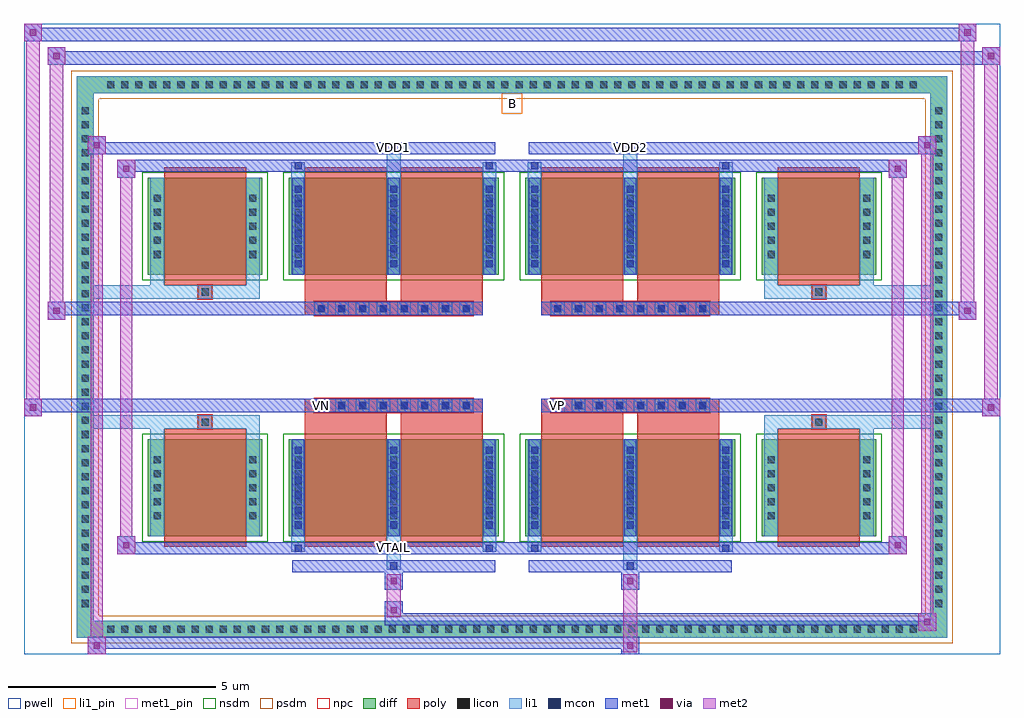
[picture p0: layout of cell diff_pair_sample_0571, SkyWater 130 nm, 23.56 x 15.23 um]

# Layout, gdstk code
import gdstk
lib = gdstk.Library(unit=1e-6, precision=5e-09)
def R(c, l, rs):  # rectangles x0, y0, x1, y1
    for r in rs: c.add(gdstk.rectangle(r[:2], r[2:], *l))
def A(c, l, x, y, w, h, nx, ny, dx, dy):  # array of equal rectangles
    R(c, l, [(x+i*dx, y+j*dy, x+i*dx+w, y+j*dy+h) for i in range(nx) for j in range(ny)])
def P(c, l, *ps):  # polygons
    for p in ps: c.add(gdstk.Polygon(p, *l))
pwell = (64, 44)
diff = (65, 20)
poly = (66, 20)
licon = (66, 44)
li1_pin = (67, 16)
li1 = (67, 20)
mcon = (67, 44)
met1_pin = (68, 16)
met1 = (68, 20)
via = (68, 44)
met2 = (69, 20)
nsdm = (93, 44)
psdm = (94, 20)
npc = (95, 20)

diff_pair_sample_0571 = lib.new_cell('diff_pair_sample_0571')
R(diff_pair_sample_0571, pwell, [(-11.78,-7.18,11.78,8.05), (-9.1,-5.37,-0.01,-0.805), (0.01,-5.37,9.1,-0.805), (-9.1,0.805,-0.01,5.37), (0.01,0.805,9.1,5.37)])
A(diff_pair_sample_0571, diff, -9.895, -6.78, 0.41, 0.41, 58, 2, 0.34, 13.15)
A(diff_pair_sample_0571, diff, -10.51, -6.155, 0.41, 0.41, 1, 36, 0, 0.34)
A(diff_pair_sample_0571, diff, 10.1, -6.155, 0.41, 0.41, 1, 36, 0, 0.34)
R(diff_pair_sample_0571, diff, [(-9.895,-6.78,9.895,-6.37), (-10.51,-6.155,-10.1,6.155), (10.1,-6.155,10.51,6.155), (-8.79,-4.325,-6.03,-1.985), (-5.39,-4.325,-0.32,-1.985), (0.32,-4.325,5.39,-1.985), (6.03,-4.325,8.79,-1.985), (-8.79,1.985,-6.03,4.325), (-5.39,1.985,-0.32,4.325), (0.32,1.985,5.39,4.325), (6.03,1.985,8.79,4.325), (-9.895,6.37,9.895,6.78)])
P(diff_pair_sample_0571, diff, [(10.51,6.78),(-10.51,6.78),(-10.51,-6.37),(-10.1,-6.37),(-10.1,6.37),(10.1,6.37),(10.1,-6.37),(-10.1,-6.37),(-10.51,-6.37),(-10.51,-6.78),(10.51,-6.78)])
A(diff_pair_sample_0571, poly, -4.77, -1.335, 0.33, 0.33, 8, 2, 0.5, 2.34)
A(diff_pair_sample_0571, poly, 0.94, -1.335, 0.33, 0.33, 8, 2, 0.5, 2.34)
R(diff_pair_sample_0571, poly, [(-8.4,-4.575,-6.42,-1.735), (-5,-4.575,-3.02,-1.735), (-2.69,-4.575,-0.71,-1.735), (0.71,-4.575,2.69,-1.735), (3.02,-4.575,5,-1.735), (6.42,-4.575,8.4,-1.735), (-7.575,-1.735,-7.245,-1.405), (-7.575,-1.735,-7.245,-1.405), (-5,-1.735,-3.02,-1.335), (-2.69,-1.735,-0.71,-1.335), (0.71,-1.735,2.69,-1.335), (3.02,-1.735,5,-1.335), (7.245,-1.735,7.575,-1.405), (7.245,-1.735,7.575,-1.405), (-5,-1.335,-0.71,-1.005), (0.71,-1.335,5,-1.005), (-5,1.005,-0.71,1.335), (0.71,1.005,5,1.335), (-5,1.335,-3.02,1.735), (-2.69,1.335,-0.71,1.735), (0.71,1.335,2.69,1.735), (3.02,1.335,5,1.735), (-7.575,1.405,-7.245,1.735), (-7.575,1.405,-7.245,1.735), (7.245,1.405,7.575,1.735), (7.245,1.405,7.575,1.735), (-8.4,1.735,-6.42,4.575), (-5,1.735,-3.02,4.575), (-2.69,1.735,-0.71,4.575), (0.71,1.735,2.69,4.575), (3.02,1.735,5,4.575), (6.42,1.735,8.4,4.575)])
A(diff_pair_sample_0571, licon, -9.775, -6.66, 0.17, 0.17, 58, 2, 0.34, 13.15)
A(diff_pair_sample_0571, licon, -10.39, -6.035, 0.17, 0.17, 1, 36, 0, 0.34)
A(diff_pair_sample_0571, licon, 10.22, -6.035, 0.17, 0.17, 1, 36, 0, 0.34)
A(diff_pair_sample_0571, licon, -8.65, -3.92, 0.17, 0.17, 1, 5, 0, 0.34)
A(diff_pair_sample_0571, licon, -6.34, -3.92, 0.17, 0.17, 1, 5, 0, 0.34)
A(diff_pair_sample_0571, licon, -5.25, -3.92, 0.17, 0.17, 3, 5, 2.31, 0.34)
A(diff_pair_sample_0571, licon, 0.46, -3.92, 0.17, 0.17, 3, 5, 2.31, 0.34)
A(diff_pair_sample_0571, licon, 6.17, -3.92, 0.17, 0.17, 1, 5, 0, 0.34)
A(diff_pair_sample_0571, licon, 8.48, -3.92, 0.17, 0.17, 1, 5, 0, 0.34)
A(diff_pair_sample_0571, licon, -4.69, -1.255, 0.17, 0.17, 8, 2, 0.5, 2.34)
A(diff_pair_sample_0571, licon, 1.02, -1.255, 0.17, 0.17, 8, 2, 0.5, 2.34)
A(diff_pair_sample_0571, licon, -8.65, 2.39, 0.17, 0.17, 1, 5, 0, 0.34)
A(diff_pair_sample_0571, licon, -6.34, 2.39, 0.17, 0.17, 1, 5, 0, 0.34)
A(diff_pair_sample_0571, licon, -5.25, 2.39, 0.17, 0.17, 3, 5, 2.31, 0.34)
A(diff_pair_sample_0571, licon, 0.46, 2.39, 0.17, 0.17, 3, 5, 2.31, 0.34)
A(diff_pair_sample_0571, licon, 6.17, 2.39, 0.17, 0.17, 1, 5, 0, 0.34)
A(diff_pair_sample_0571, licon, 8.48, 2.39, 0.17, 0.17, 1, 5, 0, 0.34)
R(diff_pair_sample_0571, licon, [(-7.495,-1.655,-7.325,-1.485), (7.325,-1.655,7.495,-1.485), (-7.495,1.485,-7.325,1.655), (7.325,1.485,7.495,1.655)])
R(diff_pair_sample_0571, li1_pin, [(-0.25,5.87,0.25,6.37)])
A(diff_pair_sample_0571, li1, -9.855, -6.74, 0.33, 0.33, 58, 2, 0.34, 13.15)
A(diff_pair_sample_0571, li1, -10.47, -6.115, 0.33, 0.33, 1, 36, 0, 0.34)
A(diff_pair_sample_0571, li1, 10.14, -6.115, 0.33, 0.33, 1, 36, 0, 0.34)
A(diff_pair_sample_0571, li1, -5.33, -4.325, 0.33, 2.34, 3, 2, 2.31, 6.31)
A(diff_pair_sample_0571, li1, 0.38, -4.325, 0.33, 2.34, 3, 2, 2.31, 6.31)
A(diff_pair_sample_0571, li1, -5.25, -4.14, 0.17, 0.17, 3, 6, 2.31, 0.36)
A(diff_pair_sample_0571, li1, -5.25, -4.14, 0.17, 1.97, 3, 2, 2.31, 6.31)
A(diff_pair_sample_0571, li1, 0.46, -4.14, 0.17, 0.17, 3, 6, 2.31, 0.36)
A(diff_pair_sample_0571, li1, 0.46, -4.14, 0.17, 1.97, 3, 2, 2.31, 6.31)
A(diff_pair_sample_0571, li1, -8.73, -4, 0.33, 0.33, 1, 5, 0, 0.34)
A(diff_pair_sample_0571, li1, -6.42, -4, 0.33, 0.33, 1, 5, 0, 0.34)
A(diff_pair_sample_0571, li1, -5.33, -4, 0.33, 0.33, 3, 5, 2.31, 0.34)
A(diff_pair_sample_0571, li1, 0.38, -4, 0.33, 0.33, 3, 5, 2.31, 0.34)
A(diff_pair_sample_0571, li1, 6.09, -4, 0.33, 0.33, 1, 5, 0, 0.34)
A(diff_pair_sample_0571, li1, 8.4, -4, 0.33, 0.33, 1, 5, 0, 0.34)
A(diff_pair_sample_0571, li1, -4.77, -1.335, 0.33, 0.33, 8, 2, 0.5, 2.34)
A(diff_pair_sample_0571, li1, 0.94, -1.335, 0.33, 0.33, 8, 2, 0.5, 2.34)
A(diff_pair_sample_0571, li1, -5.25, 2.17, 0.17, 0.17, 3, 6, 2.31, 0.36)
A(diff_pair_sample_0571, li1, 0.46, 2.17, 0.17, 0.17, 3, 6, 2.31, 0.36)
A(diff_pair_sample_0571, li1, -8.73, 2.31, 0.33, 0.33, 1, 5, 0, 0.34)
A(diff_pair_sample_0571, li1, -6.42, 2.31, 0.33, 0.33, 1, 5, 0, 0.34)
A(diff_pair_sample_0571, li1, -5.33, 2.31, 0.33, 0.33, 3, 5, 2.31, 0.34)
A(diff_pair_sample_0571, li1, 0.38, 2.31, 0.33, 0.33, 3, 5, 2.31, 0.34)
A(diff_pair_sample_0571, li1, 6.09, 2.31, 0.33, 0.33, 1, 5, 0, 0.34)
A(diff_pair_sample_0571, li1, 8.4, 2.31, 0.33, 0.33, 1, 5, 0, 0.34)
R(diff_pair_sample_0571, li1, [(-10.51,-6.78,-10.1,-6.37), (-10.51,-6.78,-10.1,-6.37), (-10.1,-6.78,10.1,-6.37), (10.1,-6.78,10.51,-6.37), (10.1,-6.78,10.51,-6.37), (-10.51,-6.37,-10.1,6.37), (10.1,-6.37,10.51,6.37), (-3.02,-5.13,-2.69,-4.325), (-2.94,-5.13,-2.77,-4.96), (2.69,-5.13,3.02,-4.325), (2.77,-5.13,2.94,-4.96), (-5.33,-4.7,-5,-4.325), (-5.25,-4.7,-5.08,-4.53), (-0.71,-4.7,-0.38,-4.325), (-0.63,-4.7,-0.46,-4.53), (0.38,-4.7,0.71,-4.325), (0.46,-4.7,0.63,-4.53), (5,-4.7,5.33,-4.325), (5.08,-4.7,5.25,-4.53), (-8.73,-4.325,-8.4,-1.985), (-6.42,-4.325,-6.09,-1.985), (6.09,-4.325,6.42,-1.985), (8.4,-4.325,8.73,-1.985), (-8.73,-1.985,-8.4,-1.405), (-6.42,-1.985,-6.09,-1.405), (6.09,-1.985,6.42,-1.405), (8.4,-1.985,8.73,-1.405), (-10.51,-1.735,-7.575,-1.405), (-8.73,-1.735,-7.575,-1.405), (-7.575,-1.735,-7.245,-1.405), (-7.245,-1.735,-6.09,-1.405), (6.09,-1.735,7.245,-1.405), (7.245,-1.735,7.575,-1.405), (7.245,-1.735,10.51,-1.405), (7.575,-1.735,8.73,-1.405), (-10.51,1.405,-7.575,1.735), (-8.73,1.405,-7.575,1.735), (-8.73,1.405,-8.4,1.985), (-7.575,1.405,-7.245,1.735), (-7.245,1.405,-6.09,1.735), (-6.42,1.405,-6.09,1.985), (6.09,1.405,7.245,1.735), (6.09,1.405,6.42,1.985), (7.245,1.405,7.575,1.735), (7.245,1.405,10.51,1.735), (7.575,1.405,8.73,1.735), (8.4,1.405,8.73,1.985), (-8.73,1.985,-8.4,4.325), (-6.42,1.985,-6.09,4.325), (6.09,1.985,6.42,4.325), (8.4,1.985,8.73,4.325), (-5.33,4.325,-5,4.7), (-3.02,4.325,-2.69,5.13), (-0.71,4.325,-0.38,4.7), (0.38,4.325,0.71,4.7), (2.69,4.325,3.02,5.13), (5,4.325,5.33,4.7), (-5.25,4.53,-5.08,4.7), (-0.63,4.53,-0.46,4.7), (0.46,4.53,0.63,4.7), (5.08,4.53,5.25,4.7), (-2.94,4.96,-2.77,5.13), (2.77,4.96,2.94,5.13), (-10.51,6.37,-10.1,6.78), (-10.51,6.37,-10.1,6.78), (-10.1,6.37,10.1,6.78), (10.1,6.37,10.51,6.78), (10.1,6.37,10.51,6.78)])
A(diff_pair_sample_0571, mcon, -5.25, -4.14, 0.17, 0.17, 3, 6, 2.31, 0.36)
A(diff_pair_sample_0571, mcon, 0.46, -4.14, 0.17, 0.17, 3, 6, 2.31, 0.36)
A(diff_pair_sample_0571, mcon, -4.69, -1.255, 0.17, 0.17, 8, 2, 0.5, 2.34)
A(diff_pair_sample_0571, mcon, 1.02, -1.255, 0.17, 0.17, 8, 2, 0.5, 2.34)
A(diff_pair_sample_0571, mcon, -5.25, 2.17, 0.17, 0.17, 3, 6, 2.31, 0.36)
A(diff_pair_sample_0571, mcon, 0.46, 2.17, 0.17, 0.17, 3, 6, 2.31, 0.36)
R(diff_pair_sample_0571, mcon, [(-2.94,-5.13,-2.77,-4.96), (2.77,-5.13,2.94,-4.96), (-5.25,-4.7,-5.08,-4.53), (-0.63,-4.7,-0.46,-4.53), (0.46,-4.7,0.63,-4.53), (5.08,-4.7,5.25,-4.53), (-5.25,4.53,-5.08,4.7), (-0.63,4.53,-0.46,4.7), (0.46,4.53,0.63,4.7), (5.08,4.53,5.25,4.7), (-2.94,4.96,-2.77,5.13), (2.77,4.96,2.94,5.13)])
R(diff_pair_sample_0571, met1_pin, [(-2.99,-4.74,-2.72,-4.47), (-4.74,-1.295,-4.47,-1.025), (0.97,-1.295,1.24,-1.025), (-2.99,4.92,-2.72,5.19), (2.72,4.92,2.99,5.19)])
A(diff_pair_sample_0571, met1, -5.31, -4.325, 0.29, 2.34, 3, 2, 2.31, 6.31)
A(diff_pair_sample_0571, met1, 0.4, -4.325, 0.29, 2.34, 3, 2, 2.31, 6.31)
A(diff_pair_sample_0571, met1, -5.31, -4.2, 0.29, 0.29, 3, 6, 2.31, 0.36)
A(diff_pair_sample_0571, met1, 0.4, -4.2, 0.29, 0.29, 3, 6, 2.31, 0.36)
A(diff_pair_sample_0571, met1, -4.75, -1.315, 0.29, 0.29, 8, 2, 0.5, 2.34)
A(diff_pair_sample_0571, met1, 0.96, -1.315, 0.29, 0.29, 8, 2, 0.5, 2.34)
A(diff_pair_sample_0571, met1, -5.31, 2.11, 0.29, 0.29, 3, 6, 2.31, 0.36)
A(diff_pair_sample_0571, met1, 0.4, 2.11, 0.29, 0.29, 3, 6, 2.31, 0.36)
R(diff_pair_sample_0571, met1, [(-10.24,-7.18,-9.81,-6.75), (2.64,-7.18,3.07,-6.75), (-10.24,-7.04,3.07,-6.75), (9.81,-6.61,10.24,-6.18), (-3.07,-6.47,10.24,-6.18), (-3.07,-6.33,-2.64,-5.9), (-3.07,-5.62,-2.64,-5.19), (2.64,-5.62,3.07,-5.19), (-5.31,-5.19,-0.4,-4.9), (-3,-5.19,-2.71,-4.9), (0.4,-5.19,5.31,-4.9), (2.71,-5.19,3,-4.9), (-9.53,-4.76,-9.1,-4.33), (-9.53,-4.76,-5.31,-4.47), (-5.31,-4.76,-5.02,-4.47), (-5.31,-4.76,-0.4,-4.47), (-0.69,-4.76,-0.4,-4.47), (-0.4,-4.76,0.4,-4.47), (0.4,-4.76,0.69,-4.47), (0.4,-4.76,5.31,-4.47), (5.02,-4.76,5.31,-4.47), (5.31,-4.76,9.53,-4.47), (9.1,-4.76,9.53,-4.33), (-11.78,-1.435,-11.35,-1.005), (11.35,-1.435,11.78,-1.005), (-11.78,-1.335,-0.71,-1.005), (-5,-1.335,-0.71,-1.005), (0.71,-1.335,5,-1.005), (0.71,-1.335,11.78,-1.005), (-11.21,0.905,-10.78,1.335), (10.78,0.905,11.21,1.335), (-11.21,1.005,-5,1.335), (-5,1.005,-0.71,1.335), (0.71,1.005,5,1.335), (5,1.005,11.21,1.335), (-9.53,4.33,-9.1,4.76), (9.1,4.33,9.53,4.76), (-9.53,4.47,-5.31,4.76), (-5.31,4.47,-5.02,4.76), (-5.31,4.47,-0.4,4.76), (-0.69,4.47,-0.4,4.76), (-0.4,4.47,0.4,4.76), (0.4,4.47,0.69,4.76), (0.4,4.47,5.31,4.76), (5.02,4.47,5.31,4.76), (5.31,4.47,9.53,4.76), (-10.24,4.9,-9.81,5.33), (-10.24,4.9,-5.31,5.19), (-5.31,4.9,-0.4,5.19), (-3,4.9,-2.71,5.19), (0.4,4.9,5.31,5.19), (2.71,4.9,3,5.19), (5.31,4.9,10.24,5.19), (9.81,4.9,10.24,5.33), (-11.21,7.05,-10.78,7.48), (-11.21,7.05,-9.1,7.38), (-9.1,7.05,9.1,7.38), (9.1,7.05,11.78,7.38), (11.35,7.05,11.78,7.48), (-11.78,7.62,-11.35,8.05), (-11.78,7.62,-9.1,7.95), (-9.1,7.62,9.1,7.95), (9.1,7.62,11.21,7.95), (10.78,7.62,11.21,8.05)])
R(diff_pair_sample_0571, via, [(-10.1,-7.04,-9.95,-6.89), (2.78,-7.04,2.93,-6.89), (9.95,-6.47,10.1,-6.32), (-2.93,-6.19,-2.78,-6.04), (-2.93,-5.48,-2.78,-5.33), (2.78,-5.48,2.93,-5.33), (-9.39,-4.62,-9.24,-4.47), (9.24,-4.62,9.39,-4.47), (-11.64,-1.295,-11.49,-1.145), (11.49,-1.295,11.64,-1.145), (-11.07,1.045,-10.92,1.195), (10.92,1.045,11.07,1.195), (-9.39,4.47,-9.24,4.62), (9.24,4.47,9.39,4.62), (-10.1,5.04,-9.95,5.19), (9.95,5.04,10.1,5.19), (-11.07,7.19,-10.92,7.34), (11.49,7.19,11.64,7.34), (-11.64,7.76,-11.49,7.91), (10.92,7.76,11.07,7.91)])
R(diff_pair_sample_0571, met2, [(-10.24,-7.18,-9.81,-6.75), (-10.17,-7.18,-9.88,5.33), (-9.88,-7.18,-9.81,-6.75), (-10.19,-7.13,-9.86,-6.8), (2.69,-7.13,3.02,-6.8), (2.69,-6.8,3.02,-5.57), (9.81,-6.61,10.24,-6.18), (9.88,-6.61,10.17,5.33), (10.17,-6.61,10.24,-6.18), (9.86,-6.56,10.19,-6.23), (-3.02,-6.28,-2.69,-5.95), (-3.02,-5.95,-2.69,-5.57), (-3.02,-5.57,-2.69,-5.24), (2.69,-5.57,3.02,-5.24), (-9.53,-4.76,-9.1,-4.33), (-9.46,-4.76,-9.17,4.76), (-9.17,-4.76,-9.1,-4.33), (9.1,-4.76,9.53,-4.33), (9.17,-4.76,9.46,4.76), (9.46,-4.76,9.53,-4.33), (-9.48,-4.71,-9.15,-4.38), (9.15,-4.71,9.48,-4.38), (-11.78,-1.435,-11.35,-1.005), (-11.73,-1.435,-11.4,8.05), (-11.4,-1.435,-11.35,-1.005), (11.35,-1.435,11.78,-1.005), (11.4,-1.435,11.73,7.48), (11.73,-1.435,11.78,-1.005), (-11.73,-1.385,-11.4,-1.055), (11.4,-1.385,11.73,-1.055), (-11.21,0.905,-10.78,1.335), (-11.16,0.905,-10.83,7.48), (-10.83,0.905,-10.78,1.335), (10.78,0.905,11.21,1.335), (10.83,0.905,11.16,8.05), (11.16,0.905,11.21,1.335), (-11.16,0.955,-10.83,1.285), (10.83,0.955,11.16,1.285), (-9.53,4.33,-9.1,4.76), (-9.17,4.33,-9.1,4.76), (9.1,4.33,9.53,4.76), (9.46,4.33,9.53,4.76), (-9.48,4.38,-9.15,4.71), (9.15,4.38,9.48,4.71), (-10.24,4.9,-9.81,5.33), (-9.88,4.9,-9.81,5.33), (9.81,4.9,10.24,5.33), (10.17,4.9,10.24,5.33), (-10.19,4.95,-9.86,5.28), (9.86,4.95,10.19,5.28), (-11.21,7.05,-10.78,7.48), (-10.83,7.05,-10.78,7.48), (11.35,7.05,11.78,7.48), (11.73,7.05,11.78,7.48), (-11.16,7.1,-10.83,7.43), (11.4,7.1,11.73,7.43), (-11.78,7.62,-11.35,8.05), (-11.4,7.62,-11.35,8.05), (10.78,7.62,11.21,8.05), (11.16,7.62,11.21,8.05), (-11.73,7.67,-11.4,8), (10.83,7.67,11.16,8)])
R(diff_pair_sample_0571, nsdm, [(-8.92,-4.455,-5.9,-1.855), (-5.52,-4.455,-0.19,-1.855), (0.19,-4.455,5.52,-1.855), (5.9,-4.455,8.92,-1.855), (-8.92,1.855,-5.9,4.455), (-5.52,1.855,-0.19,4.455), (0.19,1.855,5.52,4.455), (5.9,1.855,8.92,4.455)])
P(diff_pair_sample_0571, psdm, [(10.64,6.91),(-10.64,6.91),(-10.64,-6.24),(-9.97,-6.24),(-9.97,6.24),(9.97,6.24),(9.97,-6.24),(-9.97,-6.24),(-10.64,-6.24),(-10.64,-6.91),(10.64,-6.91)])
A(diff_pair_sample_0571, npc, -4.79, -1.355, 0.37, 0.37, 8, 2, 0.5, 2.34)
A(diff_pair_sample_0571, npc, 0.92, -1.355, 0.37, 0.37, 8, 2, 0.5, 2.34)
R(diff_pair_sample_0571, npc, [(-7.595,-1.755,-7.225,-1.385), (7.225,-1.755,7.595,-1.385), (-4.79,-1.355,-3.92,-0.985), (-4.79,-1.355,-3.92,-0.985), (-4.29,-1.355,-3.42,-0.985), (-4.29,-1.355,-3.42,-0.985), (-3.79,-1.355,-2.92,-0.985), (-3.79,-1.355,-2.92,-0.985), (-3.29,-1.355,-2.42,-0.985), (-3.29,-1.355,-2.42,-0.985), (-2.79,-1.355,-1.92,-0.985), (-2.79,-1.355,-1.92,-0.985), (-2.29,-1.355,-1.42,-0.985), (-2.29,-1.355,-1.42,-0.985), (-1.79,-1.355,-0.92,-0.985), (-1.79,-1.355,-0.92,-0.985), (0.92,-1.355,1.79,-0.985), (0.92,-1.355,1.79,-0.985), (1.42,-1.355,2.29,-0.985), (1.42,-1.355,2.29,-0.985), (1.92,-1.355,2.79,-0.985), (1.92,-1.355,2.79,-0.985), (2.42,-1.355,3.29,-0.985), (2.42,-1.355,3.29,-0.985), (2.92,-1.355,3.79,-0.985), (2.92,-1.355,3.79,-0.985), (3.42,-1.355,4.29,-0.985), (3.42,-1.355,4.29,-0.985), (3.92,-1.355,4.79,-0.985), (3.92,-1.355,4.79,-0.985), (-4.79,0.985,-3.92,1.355), (-4.79,0.985,-3.92,1.355), (-4.29,0.985,-3.42,1.355), (-4.29,0.985,-3.42,1.355), (-3.79,0.985,-2.92,1.355), (-3.79,0.985,-2.92,1.355), (-3.29,0.985,-2.42,1.355), (-3.29,0.985,-2.42,1.355), (-2.79,0.985,-1.92,1.355), (-2.79,0.985,-1.92,1.355), (-2.29,0.985,-1.42,1.355), (-2.29,0.985,-1.42,1.355), (-1.79,0.985,-0.92,1.355), (-1.79,0.985,-0.92,1.355), (0.92,0.985,1.79,1.355), (0.92,0.985,1.79,1.355), (1.42,0.985,2.29,1.355), (1.42,0.985,2.29,1.355), (1.92,0.985,2.79,1.355), (1.92,0.985,2.79,1.355), (2.42,0.985,3.29,1.355), (2.42,0.985,3.29,1.355), (2.92,0.985,3.79,1.355), (2.92,0.985,3.79,1.355), (3.42,0.985,4.29,1.355), (3.42,0.985,4.29,1.355), (3.92,0.985,4.79,1.355), (3.92,0.985,4.79,1.355), (-7.595,1.385,-7.225,1.755), (7.225,1.385,7.595,1.755)])
diff_pair_sample_0571.add(gdstk.Label('VTAIL', (-2.855,-4.605), layer=68, texttype=5))
diff_pair_sample_0571.add(gdstk.Label('VN', (-4.605,-1.16), layer=68, texttype=5))
diff_pair_sample_0571.add(gdstk.Label('VP', (1.105,-1.16), layer=68, texttype=5))
diff_pair_sample_0571.add(gdstk.Label('B', (0,6.12), layer=67, texttype=5))
diff_pair_sample_0571.add(gdstk.Label('VDD2', (2.855,5.055), layer=68, texttype=5))
diff_pair_sample_0571.add(gdstk.Label('VDD1', (-2.855,5.055), layer=68, texttype=5))

lib.write_gds('diff_pair_sample_0571.gds')
